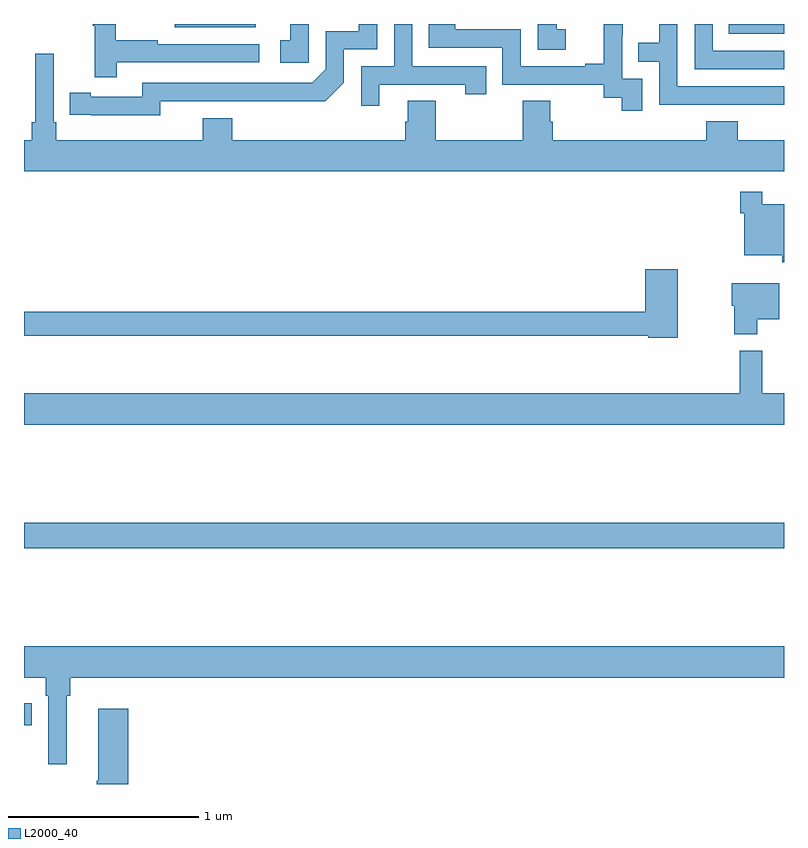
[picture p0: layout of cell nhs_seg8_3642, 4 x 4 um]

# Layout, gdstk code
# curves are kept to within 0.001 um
import gdstk
lib = gdstk.Library(unit=1e-6, precision=1e-09)
def R(c, l, rs):  # rectangles x0, y0, x1, y1
    for r in rs: c.add(gdstk.rectangle(r[:2], r[2:], *l))
def P(c, l, *ps):  # polygons
    for p in ps: c.add(gdstk.Polygon(p, *l))
L2000_40 = (2000, 40)

nhs_seg8_3642 = lib.new_cell('nhs_seg8_3642')
R(nhs_seg8_3642, L2000_40, [(335,1156.21,335.042,1156.326), (335,1157.14,339,1157.276), (338.71,1159.85,339,1159.9), (335.793,1159.883,336.22,1159.9)])
P(nhs_seg8_3642, L2000_40, [(338.253,1159.611),(338.148,1159.611),(338.148,1159.841),(338.15,1159.841),(338.15,1159.9),(338.051,1159.9),(338.051,1159.69),(337.955,1159.69),(337.955,1159.677),(337.614,1159.677),(337.614,1159.872),(337.269,1159.872),(337.269,1159.899),(337.129,1159.899),(337.129,1159.776),(337.518,1159.776),(337.518,1159.581),(338.052,1159.581),(338.052,1159.513),(338.145,1159.513),(338.145,1159.443),(338.253,1159.443)],
  [(337.852,1159.873),(337.803,1159.873),(337.803,1159.9),(337.704,1159.9),(337.704,1159.764),(337.852,1159.764)],
  [(336.871,1159.581),(337.322,1159.581),(337.322,1159.53),(337.433,1159.53),(337.433,1159.677),(337.044,1159.677),(337.044,1159.9),(336.948,1159.9),(336.948,1159.677),(336.774,1159.677),(336.774,1159.47),(336.871,1159.47)],
  [(335.718,1159.494),(336.586,1159.493),(336.684,1159.59),(336.684,1159.767),(336.858,1159.767),(336.858,1159.9),(336.761,1159.9),(336.761,1159.863),(336.588,1159.863),(336.588,1159.662),(336.516,1159.59),(335.622,1159.59),(335.622,1159.518),(335.35,1159.518),(335.35,1159.538),(335.242,1159.538),(335.242,1159.422),(335.718,1159.421)],
  [(335.489,1159.698),(336.238,1159.698),(336.238,1159.794),(335.705,1159.794),(335.705,1159.814),(335.482,1159.814),(335.482,1159.9),(335.361,1159.9),(335.361,1159.891),(335.372,1159.891),(335.372,1159.62),(335.489,1159.62)],
  [(339,1159.758),(338.625,1159.758),(338.625,1159.9),(338.529,1159.9),(338.529,1159.662),(339,1159.662)],
  [(336.498,1159.9),(336.401,1159.9),(336.401,1159.815),(336.348,1159.815),(336.348,1159.695),(336.498,1159.695)],
  [(339,1159.572),(338.439,1159.572),(338.439,1159.9),(338.343,1159.9),(338.343,1159.802),(338.233,1159.802),(338.233,1159.701),(338.343,1159.701),(338.343,1159.476),(338.839,1159.476),(338.839,1159.475),(339,1159.475)],
  [(339,1159.288),(338.756,1159.288),(338.756,1159.387),(338.591,1159.387),(338.591,1159.288),(337.784,1159.288),(337.784,1159.386),(337.771,1159.386),(337.771,1159.496),(337.624,1159.496),(337.624,1159.288),(337.167,1159.288),(337.167,1159.496),(337.019,1159.496),(337.019,1159.386),(337.007,1159.386),(337.007,1159.288),(336.095,1159.288),(336.095,1159.405),(335.942,1159.405),(335.942,1159.288),(335.171,1159.288),(335.171,1159.384),(335.157,1159.384),(335.157,1159.744),(335.06,1159.744),(335.06,1159.384),(335.041,1159.384),(335.041,1159.288),(335,1159.288),(335,1159.124),(339,1159.124)],
  [(339,1158.952),(338.886,1158.952),(338.886,1159.018),(338.77,1159.018),(338.77,1158.905),(338.79,1158.905),(338.79,1158.683),(338.99,1158.683),(338.99,1158.647),(339,1158.647)],
  [(338.44,1158.61),(338.27,1158.61),(338.27,1158.386),(335,1158.386),(335,1158.258),(338.286,1158.258),(338.286,1158.25),(338.44,1158.25)],
  [(338.86,1158.347),(338.974,1158.347),(338.974,1158.535),(338.726,1158.535),(338.726,1158.417),(338.738,1158.417),(338.738,1158.266),(338.86,1158.266)],
  [(339,1157.956),(338.885,1157.956),(338.885,1158.181),(338.767,1158.181),(338.767,1157.956),(335,1157.956),(335,1157.792),(339,1157.792)],
  [(335.224,1156.364),(335.243,1156.364),(335.243,1156.46),(339,1156.46),(339,1156.624),(335,1156.624),(335,1156.46),(335.114,1156.46),(335.114,1156.364),(335.127,1156.364),(335.127,1156.005),(335.224,1156.005)],
  [(335.549,1156.297),(335.39,1156.297),(335.39,1155.917),(335.383,1155.917),(335.383,1155.9),(335.549,1155.9)])

lib.write_gds('nhs_seg8_3642.gds')
